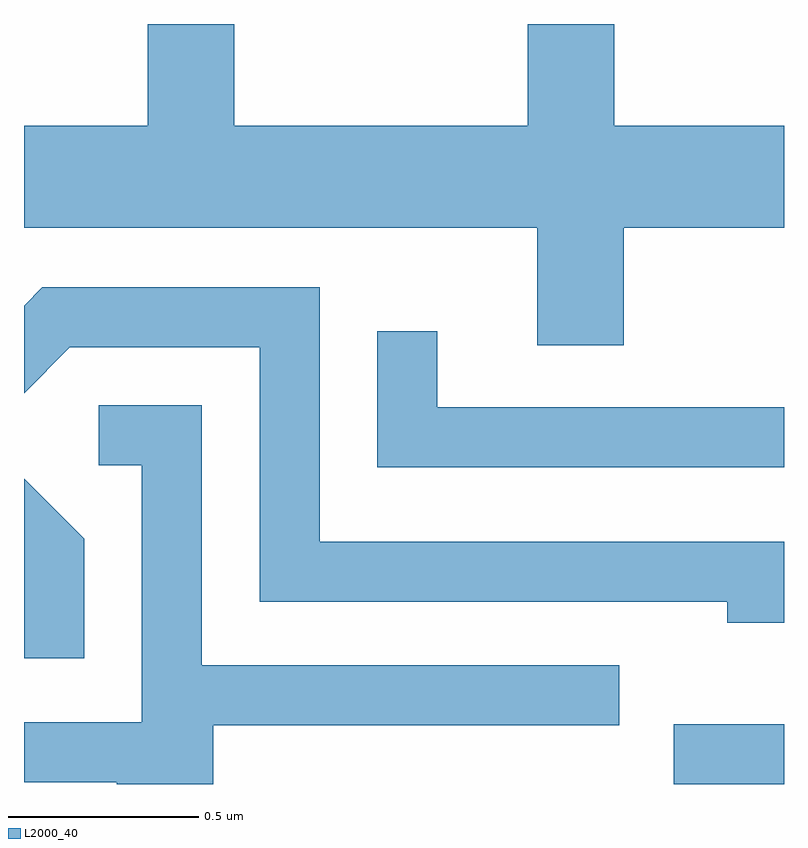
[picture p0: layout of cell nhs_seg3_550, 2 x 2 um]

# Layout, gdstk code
import gdstk
lib = gdstk.Library(unit=1e-6, precision=1e-09)
def R(c, l, rs):  # rectangles x0, y0, x1, y1
    for r in rs: c.add(gdstk.rectangle(r[:2], r[2:], *l))
def P(c, l, *ps):  # polygons
    for p in ps: c.add(gdstk.Polygon(p, *l))
L2000_40 = (2000, 40)

nhs_seg3_550 = lib.new_cell('nhs_seg3_550')
R(nhs_seg3_550, L2000_40, [(191.321,1117.892,191.611,1118.049)])
P(nhs_seg3_550, L2000_40, [(191.189,1119.356),(191.611,1119.356),(191.611,1119.624),(191.164,1119.624),(191.164,1119.892),(190.936,1119.892),(190.936,1119.624),(190.164,1119.624),(190.164,1119.892),(189.936,1119.892),(189.936,1119.624),(189.611,1119.624),(189.611,1119.356),(190.961,1119.356),(190.961,1119.046),(191.189,1119.046)],
  [(191.611,1118.529),(190.389,1118.529),(190.389,1119.199),(189.659,1119.199),(189.611,1119.151),(189.611,1118.92),(189.732,1119.041),(190.231,1119.041),(190.231,1118.371),(191.461,1118.371),(191.461,1118.316),(191.611,1118.316)],
  [(191.611,1118.884),(190.699,1118.884),(190.699,1119.083),(190.541,1119.083),(190.541,1118.726),(191.611,1118.726)],
  [(190.109,1118.046),(191.178,1118.046),(191.178,1118.204),(190.079,1118.204),(190.079,1118.889),(189.808,1118.889),(189.808,1118.731),(189.921,1118.731),(189.921,1118.054),(189.611,1118.054),(189.611,1117.896),(189.855,1117.896),(189.855,1117.892),(190.109,1117.892)],
  [(189.769,1118.537),(189.611,1118.695),(189.611,1118.223),(189.769,1118.223)])

lib.write_gds('nhs_seg3_550.gds')
